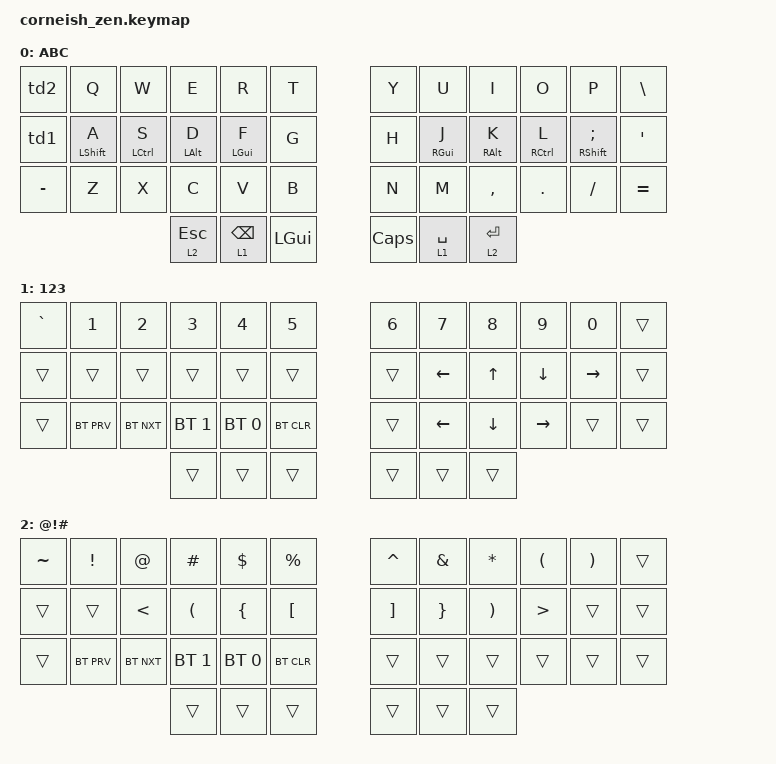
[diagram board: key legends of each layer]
#include <behaviors.dtsi>
#include <dt-bindings/zmk/bt.h>
#include <dt-bindings/zmk/keys.h>

/ {
	chosen {
		zmk,matrix_transform = &default_transform;
		//zmk,matrix_transform = &five_column_transform;
	};
};

/ {
    behaviors {
        hm: hm {
            compatible = "zmk,behavior-hold-tap";
            label = "HM";
            bindings = <&kp>, <&kp>;

            #binding-cells = <2>;
            tapping-term-ms = <300>;
            quick-tap-ms = <200>;
            flavor = "tap-preferred";
        };

        td2: td2 {
            compatible = "zmk,behavior-tap-dance";
            label = "CAPS, Layer 2";
            #binding-cells = <0>;
            bindings = <&kp TAB>, <&sl 2>;
        };

        td1: td1 {
            compatible = "zmk,behavior-tap-dance";
            label = "Tab, Layer 1";
            #binding-cells = <0>;
            bindings = <&kp CAPS>, <&sl 2>;
        };
    };

    combos {
        compatible = "zmk,combos";

        left_LessThan {
            bindings = <&kp LT>;
            key-positions = <1 2>;
        };

        right_GreaterThan {
            bindings = <&kp GT>;
            key-positions = <10 9>;
        };

        left_OpenParen {
            bindings = <&kp LPAR>;
            key-positions = <2 3>;
        };

        right_CloseParen {
            bindings = <&kp RPAR>;
            key-positions = <9 8>;
        };

        left_OpenCurly {
            bindings = <&kp LEFT_BRACE>;
            key-positions = <3 4>;
        };

        right_CloseCurly {
            bindings = <&kp RBRC>;
            key-positions = <7 8>;
        };

        left_OpenBracket {
            bindings = <&kp LBKT>;
            key-positions = <4 5>;
        };

        right_CloseBracket {
            bindings = <&kp RBKT>;
            key-positions = <6 7>;
        };

        volume_up {
            bindings = <&kp C_VOL_UP>;
            key-positions = <0 1>;
        };

        volume_down {
            bindings = <&kp C_VOL_DN>;
            key-positions = <12 13>;
        };

        volume_mute {
            bindings = <&kp C_MUTE>;
            key-positions = <24 25>;
        };

        arrow_up {
            bindings = <&kp UP>;
            key-positions = <20 21>;
        };

        arrow_down {
            bindings = <&kp DOWN>;
            key-positions = <32 33>;
        };

        indent_line {
            bindings = <&kp LG(RBKT)>;
            key-positions = <11 10>;
        };

        outdent_line {
            bindings = <&kp LG(LBKT)>;
            key-positions = <22 23>;
        };

        combo_newline {
            bindings = <&newline_after>;
            key-positions = <34 35>;
        };
    };

    macros {
        newline_after: indent {
            compatible = "zmk,behavior-macro";
            #binding-cells = <0>;
            bindings = <&kp LG(RIGHT) &kp ENTER>;
            label = "INDENT";
        };
    };

    keymap {
        compatible = "zmk,keymap";

        default_layer {
            label = "ABC";
            bindings = <
&td2       &kp Q        &kp W        &kp E       &kp R       &kp T       &kp Y     &kp U        &kp I        &kp O        &kp P           &kp BSLH
&td1       &hm LSHFT A  &hm LCTRL S  &hm LALT D  &hm LGUI F  &kp G       &kp H     &hm RGUI J   &hm RALT K   &hm RCTRL L  &hm RSHFT SEMI  &kp SINGLE_QUOTE
&kp MINUS  &kp Z        &kp X        &kp C       &kp V       &kp B       &kp N     &kp M        &kp COMMA    &kp DOT      &kp FSLH        &kp EQUAL
                                     &lt 2 ESC   &lt 1 BSPC  &kp LGUI    &kp CAPS  &lt 1 SPACE  &lt 2 ENTER
            >;
        };

        lower_layer {
            label = "123";
            bindings = <
&kp GRAVE  &kp N1      &kp N2      &kp N3        &kp N4        &kp N5        &kp N6  &kp N7    &kp N8    &kp N9     &kp N0     &trans
&trans     &trans      &trans      &trans        &trans        &trans        &trans  &kp LEFT  &kp UP    &kp DOWN   &kp RIGHT  &trans
&trans     &bt BT_PRV  &bt BT_NXT  &bt BT_SEL 1  &bt BT_SEL 0  &bt BT_CLR    &trans  &kp LEFT  &kp DOWN  &kp RIGHT  &trans     &trans
                                   &trans        &trans        &trans        &trans  &trans    &trans
            >;
        };

        raise_layer {
            label = "@!#";
            bindings = <
&kp TILDE  &kp EXCL    &kp AT      &kp HASH      &kp DLLR      &kp PRCNT     &kp CARET  &kp AMPS  &kp STAR  &kp LPAR  &kp RPAR  &trans
&trans     &trans      &kp LT      &kp LPAR      &kp LBRC      &kp LBKT      &kp RBKT   &kp RBRC  &kp RPAR  &kp GT    &trans    &trans
&trans     &bt BT_PRV  &bt BT_NXT  &bt BT_SEL 1  &bt BT_SEL 0  &bt BT_CLR    &trans     &trans    &trans    &trans    &trans    &trans
                                   &trans        &trans        &trans        &trans     &trans    &trans
            >;
        };
    };
};
